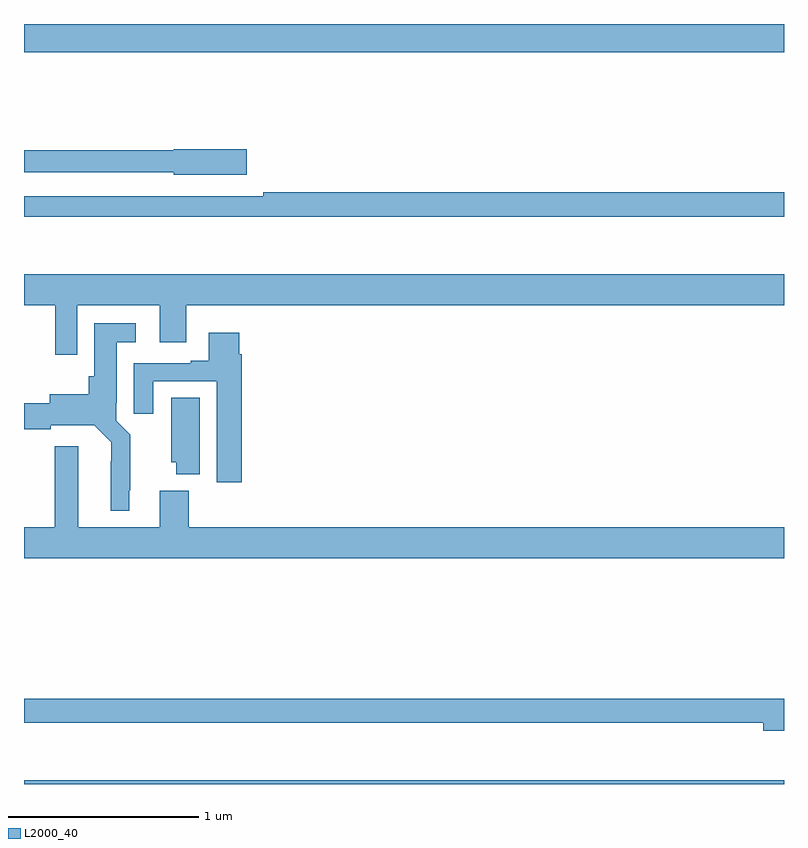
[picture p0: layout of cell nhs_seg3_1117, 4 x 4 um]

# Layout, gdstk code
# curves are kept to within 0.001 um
import gdstk
lib = gdstk.Library(unit=1e-6, precision=1e-09)
def R(c, l, rs):  # rectangles x0, y0, x1, y1
    for r in rs: c.add(gdstk.rectangle(r[:2], r[2:], *l))
def P(c, l, *ps):  # polygons
    for p in ps: c.add(gdstk.Polygon(p, *l))
L2000_40 = (2000, 40)

nhs_seg3_1117 = lib.new_cell('nhs_seg3_1117')
R(nhs_seg3_1117, L2000_40, [(169,694.4,173,694.42), (169,698.252,173,698.4)])
P(nhs_seg3_1117, L2000_40, [(170.173,697.742),(169.788,697.742),(169.788,697.736),(169,697.736),(169,697.62),(169.788,697.62),(169.788,697.607),(170.173,697.607)],
  [(173,697.514),(170.26,697.514),(170.26,697.494),(169,697.494),(169,697.386),(173,697.386)],
  [(169.281,696.92),(169.715,696.92),(169.715,696.726),(169.855,696.726),(169.855,696.92),(173,696.92),(173,697.084),(169,697.084),(169,696.92),(169.165,696.92),(169.165,696.66),(169.281,696.66)],
  [(169.555,695.947),(169.559,695.947),(169.559,696.238),(169.485,696.312),(169.485,696.406),(169.489,696.406),(169.489,696.725),(169.588,696.725),(169.588,696.826),(169.37,696.826),(169.37,696.546),(169.34,696.546),(169.34,696.451),(169.136,696.451),(169.136,696.404),(169,696.404),(169,696.268),(169.14,696.268),(169.14,696.287),(169.371,696.287),(169.458,696.2),(169.457,695.837),(169.555,695.837)],
  [(170.147,696.662),(170.134,696.662),(170.134,696.775),(169.973,696.775),(169.973,696.628),(169.877,696.628),(169.877,696.615),(169.577,696.615),(169.577,696.348),(169.681,696.348),(169.681,696.519),(170.015,696.519),(170.015,695.988),(170.147,695.988)],
  [(169.924,696.434),(169.775,696.434),(169.775,696.093),(169.802,696.093),(169.802,696.029),(169.924,696.029)],
  [(173,695.752),(169.868,695.752),(169.868,695.944),(169.715,695.944),(169.715,695.752),(169.285,695.752),(169.285,696.178),(169.163,696.178),(169.163,695.752),(169,695.752),(169,695.588),(173,695.588)],
  [(173,694.85),(169,694.85),(169,694.722),(172.892,694.722),(172.892,694.679),(173,694.679)])

lib.write_gds('nhs_seg3_1117.gds')
